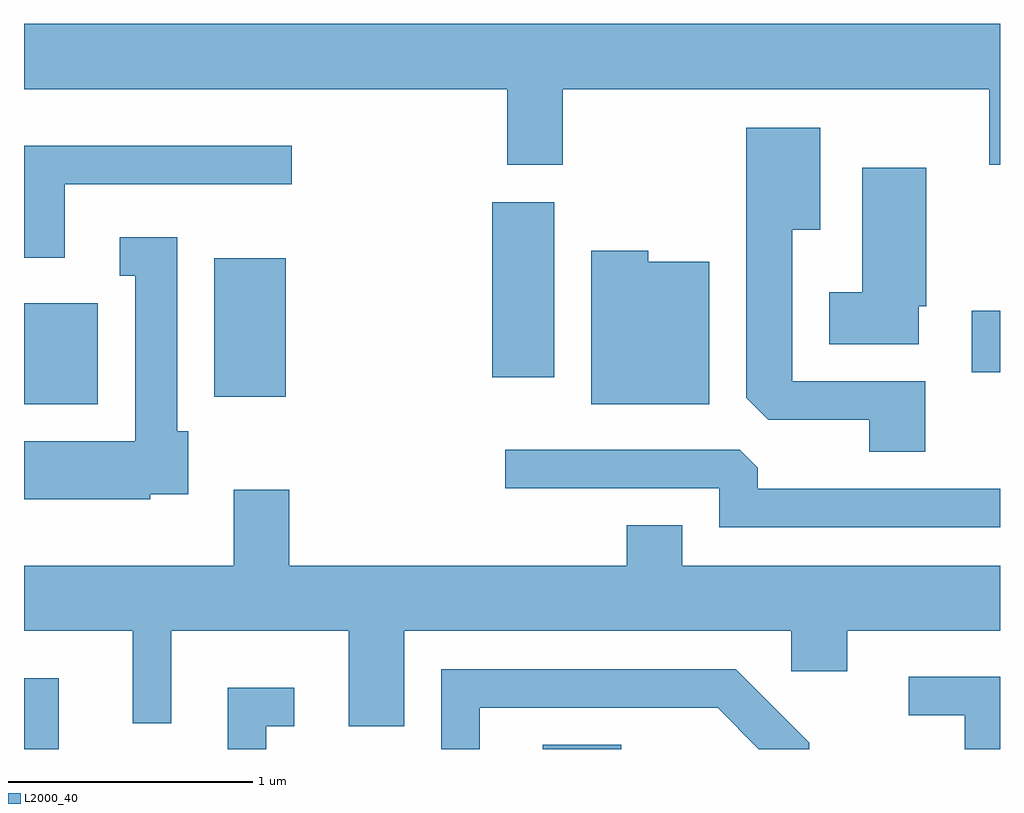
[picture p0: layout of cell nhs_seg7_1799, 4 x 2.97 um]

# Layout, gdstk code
import gdstk
lib = gdstk.Library(unit=1e-6, precision=1e-09)
def R(c, l, rs):  # rectangles x0, y0, x1, y1
    for r in rs: c.add(gdstk.rectangle(r[:2], r[2:], *l))
def P(c, l, *ps):  # polygons
    for p in ps: c.add(gdstk.Polygon(p, *l))
L2000_40 = (2000, 40)

nhs_seg7_1799 = lib.new_cell('nhs_seg7_1799')
R(nhs_seg7_1799, L2000_40, [(239.611,1738.252,239.754,1738.543), (241.738,1738.252,242.059,1738.269), (239.611,1739.666,239.914,1740.079), (240.391,1739.696,240.684,1740.264), (241.531,1739.776,241.784,1740.494), (243.496,1739.796,243.611,1740.049)])
P(nhs_seg7_1799, L2000_40, [(241.819,1740.956),(243.566,1740.956),(243.566,1740.646),(243.611,1740.646),(243.611,1741.224),(239.611,1741.224),(239.611,1740.956),(241.591,1740.956),(241.591,1740.646),(241.819,1740.646)],
  [(243.304,1739.759),(242.759,1739.759),(242.759,1740.381),(242.874,1740.381),(242.874,1740.799),(242.571,1740.799),(242.571,1739.692),(242.662,1739.601),(243.076,1739.601),(243.076,1739.471),(243.304,1739.471)],
  [(239.779,1740.566),(240.708,1740.566),(240.708,1740.724),(239.611,1740.724),(239.611,1740.266),(239.779,1740.266)],
  [(243.279,1740.066),(243.309,1740.066),(243.309,1740.634),(243.046,1740.634),(243.046,1740.124),(242.911,1740.124),(242.911,1739.911),(243.279,1739.911)],
  [(240.129,1739.296),(240.284,1739.296),(240.284,1739.554),(240.239,1739.554),(240.239,1740.349),(240.003,1740.349),(240.003,1740.191),(240.066,1740.191),(240.066,1739.514),(239.611,1739.514),(239.611,1739.276),(240.129,1739.276)],
  [(242.419,1740.249),(242.169,1740.249),(242.169,1740.294),(241.936,1740.294),(241.936,1739.666),(242.419,1739.666)],
  [(243.611,1739.319),(242.619,1739.319),(242.619,1739.404),(242.544,1739.479),(241.583,1739.479),(241.583,1739.321),(242.461,1739.321),(242.461,1739.161),(243.611,1739.161)],
  [(241.169,1738.736),(242.756,1738.736),(242.756,1738.571),(242.984,1738.571),(242.984,1738.736),(243.611,1738.736),(243.611,1739.004),(242.309,1739.004),(242.309,1739.169),(242.081,1739.169),(242.081,1739.004),(240.699,1739.004),(240.699,1739.314),(240.471,1739.314),(240.471,1739.004),(239.611,1739.004),(239.611,1738.736),(240.056,1738.736),(240.056,1738.358),(240.214,1738.358),(240.214,1738.736),(240.941,1738.736),(240.941,1738.346),(241.169,1738.346)],
  [(241.479,1738.421),(242.454,1738.421),(242.623,1738.252),(242.829,1738.252),(242.829,1738.277),(242.527,1738.579),(241.321,1738.579),(241.321,1738.252),(241.479,1738.252)],
  [(243.611,1738.549),(243.238,1738.549),(243.238,1738.391),(243.466,1738.391),(243.466,1738.252),(243.611,1738.252)],
  [(240.604,1738.346),(240.718,1738.346),(240.718,1738.504),(240.446,1738.504),(240.446,1738.252),(240.604,1738.252)])

lib.write_gds('nhs_seg7_1799.gds')
